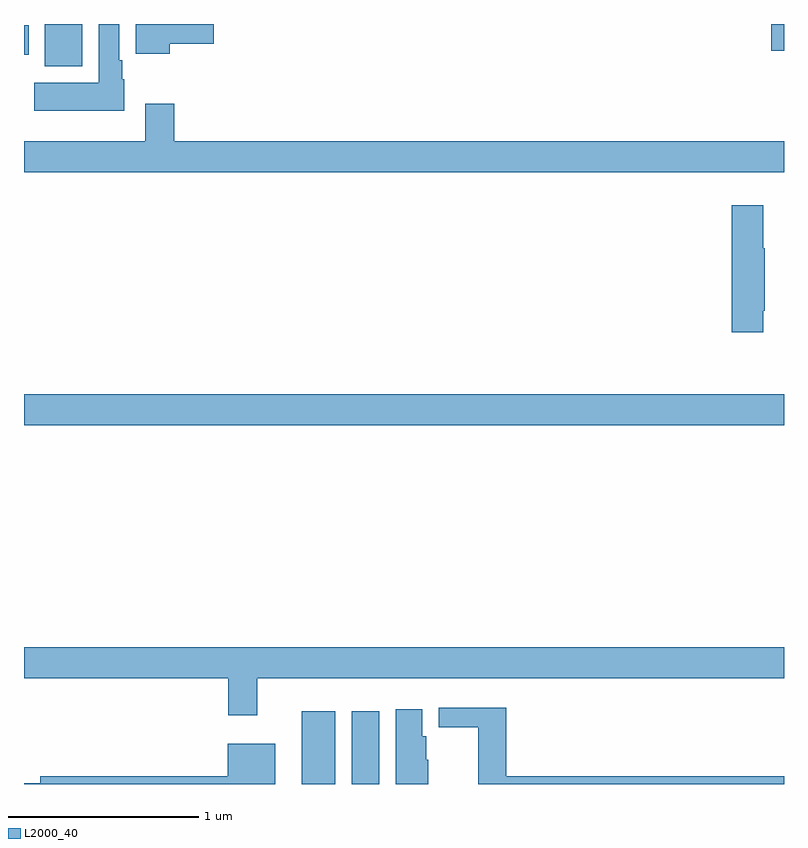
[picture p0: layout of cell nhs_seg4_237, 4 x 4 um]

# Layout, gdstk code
import gdstk
lib = gdstk.Library(unit=1e-6, precision=1e-09)
def R(c, l, rs):  # rectangles x0, y0, x1, y1
    for r in rs: c.add(gdstk.rectangle(r[:2], r[2:], *l))
def P(c, l, *ps):  # polygons
    for p in ps: c.add(gdstk.Polygon(p, *l))
L2000_40 = (2000, 40)

nhs_seg4_237 = lib.new_cell('nhs_seg4_237')
R(nhs_seg4_237, L2000_40, [(122.462,826.9,122.638,827.284), (122.726,826.9,122.869,827.284), (121,828.788,125,828.952), (121.109,830.678,121.306,830.9), (121,830.737,121.024,830.893), (124.932,830.758,125,830.9)])
P(nhs_seg4_237, L2000_40, [(121.768,830.795),(121.999,830.795),(121.999,830.9),(121.589,830.9),(121.589,830.744),(121.768,830.744)],
  [(121.528,830.61),(121.516,830.61),(121.516,830.71),(121.501,830.71),(121.501,830.9),(121.394,830.9),(121.394,830.59),(121.055,830.59),(121.055,830.444),(121.528,830.444)],
  [(125,830.284),(121.79,830.284),(121.79,830.479),(121.637,830.479),(121.637,830.284),(121,830.284),(121,830.12),(125,830.12)],
  [(124.891,829.39),(124.899,829.39),(124.899,829.721),(124.891,829.721),(124.891,829.945),(124.724,829.945),(124.724,829.278),(124.891,829.278)],
  [(122.227,827.456),(125,827.456),(125,827.62),(121,827.62),(121,827.456),(122.075,827.456),(122.075,827.262),(122.227,827.262)],
  [(125,826.94),(123.539,826.94),(123.539,827.302),(123.183,827.302),(123.183,827.2),(123.392,827.2),(123.392,826.9),(125,826.9)],
  [(123.127,827.028),(123.118,827.028),(123.118,827.151),(123.097,827.151),(123.097,827.293),(122.957,827.293),(122.957,826.9),(123.127,826.9)],
  [(122.323,827.113),(122.073,827.113),(122.073,826.94),(121.085,826.94),(121.085,826.904),(121,826.904),(121,826.9),(122.323,826.9)])

lib.write_gds('nhs_seg4_237.gds')
